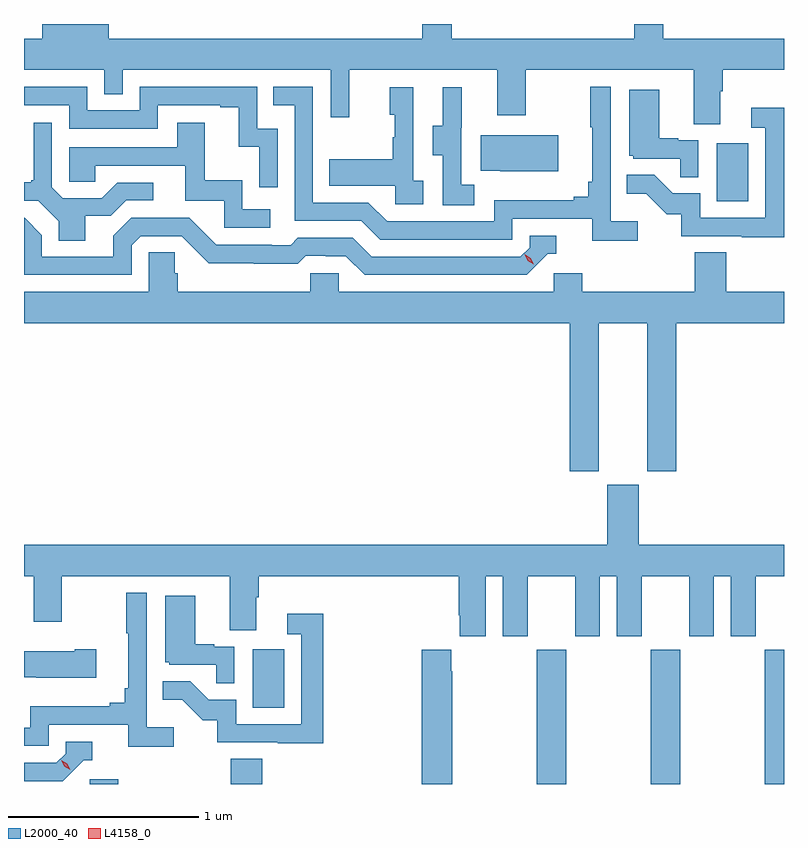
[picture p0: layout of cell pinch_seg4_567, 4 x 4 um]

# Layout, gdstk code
import gdstk
lib = gdstk.Library(unit=1e-6, precision=1e-09)
def R(c, l, rs):  # rectangles x0, y0, x1, y1
    for r in rs: c.add(gdstk.rectangle(r[:2], r[2:], *l))
def P(c, l, *ps):  # polygons
    for p in ps: c.add(gdstk.Polygon(p, *l))
L2000_40 = (2000, 40)
L4158_0 = (4158, 0)

pinch_seg4_567 = lib.new_cell('pinch_seg4_567')
R(pinch_seg4_567, L2000_40, [(1108.224,767.754,1108.376,767.778), (1108.967,767.754,1109.132,767.888), (1110.577,767.754,1110.732,768.46), (1111.177,767.754,1111.332,768.46), (1111.777,767.754,1111.879,768.46), (1109.084,768.156,1109.248,768.463), (1111.526,770.82,1111.69,771.127)])
P(pinch_seg4_567, L2000_40, [(1111.543,771.4),(1111.556,771.4),(1111.556,771.512),(1111.879,771.512),(1111.879,771.676),(1111.244,771.676),(1111.244,771.754),(1111.091,771.754),(1111.091,771.676),(1110.131,771.676),(1110.131,771.754),(1109.975,771.754),(1109.975,771.676),(1108.324,771.676),(1108.324,771.754),(1107.974,771.754),(1107.974,771.676),(1107.879,771.676),(1107.879,771.512),(1108.302,771.512),(1108.302,771.385),(1108.398,771.385),(1108.398,771.512),(1109.493,771.512),(1109.493,771.264),(1109.591,771.264),(1109.591,771.512),(1110.371,771.512),(1110.371,771.273),(1110.519,771.273),(1110.519,771.512),(1111.403,771.512),(1111.403,771.226),(1111.543,771.226)],
  [(1111.108,770.716),(1110.966,770.716),(1110.966,771.424),(1110.858,771.424),(1110.858,771.211),(1110.869,771.211),(1110.869,770.923),(1110.85,770.923),(1110.85,770.846),(1110.773,770.846),(1110.773,770.827),(1110.354,770.827),(1110.354,770.715),(1109.79,770.715),(1109.691,770.814),(1109.4,770.814),(1109.4,771.423),(1109.191,771.423),(1109.191,771.327),(1109.304,771.327),(1109.304,770.718),(1109.654,770.718),(1109.753,770.619),(1110.45,770.619),(1110.45,770.73),(1110.869,770.73),(1110.869,770.614),(1111.108,770.614)],
  [(1109.214,771.204),(1109.106,771.204),(1109.106,771.423),(1108.488,771.423),(1108.488,771.3),(1108.212,771.3),(1108.212,771.423),(1107.879,771.423),(1107.879,771.327),(1108.116,771.327),(1108.116,771.204),(1108.584,771.204),(1108.584,771.327),(1108.913,771.327),(1108.913,771.315),(1109.009,771.315),(1109.009,771.107),(1109.118,771.107),(1109.118,770.895),(1109.214,770.895)],
  [(1110.25,770.907),(1110.18,770.907),(1110.18,771.207),(1110.182,771.207),(1110.182,771.421),(1110.083,771.421),(1110.083,771.219),(1110.029,771.219),(1110.029,771.064),(1110.084,771.064),(1110.084,770.8),(1110.25,770.8)],
  [(1109.98,770.93),(1109.928,770.93),(1109.928,771.421),(1109.804,771.421),(1109.804,771.276),(1109.83,771.276),(1109.83,771.158),(1109.82,771.158),(1109.82,771.043),(1109.485,771.043),(1109.485,770.903),(1109.832,770.903),(1109.832,770.805),(1109.98,770.805)],
  [(1111.428,771.141),(1111.322,771.141),(1111.322,771.154),(1111.222,771.154),(1111.222,771.409),(1111.064,771.409),(1111.064,771.06),(1111.086,771.06),(1111.086,771.045),(1111.333,771.045),(1111.333,770.947),(1111.428,770.947)],
  [(1111.879,771.313),(1111.707,771.313),(1111.707,771.207),(1111.779,771.207),(1111.779,770.733),(1111.437,770.733),(1111.437,770.862),(1111.293,770.862),(1111.195,770.96),(1111.051,770.96),(1111.051,770.861),(1111.155,770.861),(1111.262,770.754),(1111.339,770.754),(1111.339,770.637),(1111.657,770.637),(1111.657,770.632),(1111.879,770.632)],
  [(1109.176,770.778),(1109.028,770.778),(1109.028,770.932),(1108.829,770.932),(1108.829,771.235),(1108.685,771.235),(1108.685,771.105),(1108.116,771.105),(1108.116,770.925),(1108.253,770.925),(1108.253,771.009),(1108.727,771.009),(1108.727,770.823),(1108.932,770.823),(1108.932,770.682),(1109.176,770.682)],
  [(1108.201,770.746),(1108.336,770.746),(1108.416,770.826),(1108.558,770.826),(1108.558,770.919),(1108.37,770.919),(1108.289,770.838),(1108.083,770.838),(1108.026,770.895),(1108.026,771.235),(1107.929,771.235),(1107.929,770.932),(1107.918,770.932),(1107.918,770.92),(1107.879,770.92),(1107.879,770.823),(1107.954,770.823),(1108.061,770.716),(1108.061,770.614),(1108.201,770.614)],
  [(1110.691,771.169),(1110.283,771.169),(1110.283,770.981),(1110.385,770.981),(1110.385,770.978),(1110.691,770.978)],
  [(1108.446,770.589),(1108.494,770.637),(1108.71,770.637),(1108.852,770.495),(1109.088,770.495),(1109.088,770.493),(1109.321,770.493),(1109.363,770.535),(1109.466,770.535),(1109.466,770.532),(1109.573,770.532),(1109.672,770.433),(1110.525,770.433),(1110.636,770.544),(1110.679,770.544),(1110.679,770.64),(1110.54,770.64),(1110.54,770.577),(1110.492,770.529),(1109.709,770.529),(1109.61,770.628),(1109.321,770.628),(1109.282,770.589),(1109.183,770.589),(1109.183,770.592),(1108.89,770.592),(1108.749,770.733),(1108.443,770.733),(1108.349,770.639),(1108.349,770.529),(1107.972,770.529),(1107.972,770.643),(1107.882,770.733),(1107.879,770.733),(1107.879,770.433),(1108.446,770.433)],
  [(1110.904,770.18),(1111.16,770.18),(1111.16,769.401),(1111.313,769.401),(1111.313,770.18),(1111.879,770.18),(1111.879,770.344),(1111.574,770.344),(1111.574,770.552),(1111.409,770.552),(1111.409,770.344),(1110.818,770.344),(1110.818,770.442),(1110.666,770.442),(1110.666,770.344),(1109.535,770.344),(1109.535,770.442),(1109.385,770.442),(1109.385,770.344),(1108.688,770.344),(1108.688,770.442),(1108.673,770.442),(1108.673,770.552),(1108.536,770.552),(1108.536,770.344),(1107.879,770.344),(1107.879,770.18),(1110.752,770.18),(1110.752,769.401),(1110.904,769.401)],
  [(1110.31,768.848),(1110.398,768.848),(1110.398,768.531),(1110.529,768.531),(1110.529,768.848),(1110.779,768.848),(1110.779,768.531),(1110.91,768.531),(1110.91,768.848),(1110.998,768.848),(1110.998,768.531),(1111.129,768.531),(1111.129,768.848),(1111.379,768.848),(1111.379,768.531),(1111.51,768.531),(1111.51,768.848),(1111.598,768.848),(1111.598,768.531),(1111.729,768.531),(1111.729,768.848),(1111.879,768.848),(1111.879,769.012),(1111.114,769.012),(1111.114,769.329),(1110.95,769.329),(1110.95,769.012),(1107.879,769.012),(1107.879,768.848),(1107.929,768.848),(1107.929,768.609),(1108.077,768.609),(1108.077,768.848),(1108.961,768.848),(1108.961,768.562),(1109.101,768.562),(1109.101,768.736),(1109.114,768.736),(1109.114,768.848),(1110.167,768.848),(1110.167,768.643),(1110.173,768.643),(1110.173,768.531),(1110.31,768.531)],
  [(1108.666,768.052),(1108.524,768.052),(1108.524,768.76),(1108.416,768.76),(1108.416,768.547),(1108.427,768.547),(1108.427,768.259),(1108.408,768.259),(1108.408,768.182),(1108.331,768.182),(1108.331,768.163),(1107.912,768.163),(1107.912,768.051),(1107.879,768.051),(1107.879,767.955),(1108.008,767.955),(1108.008,768.066),(1108.427,768.066),(1108.427,767.95),(1108.666,767.95)],
  [(1108.986,768.477),(1108.88,768.477),(1108.88,768.49),(1108.78,768.49),(1108.78,768.745),(1108.622,768.745),(1108.622,768.396),(1108.644,768.396),(1108.644,768.381),(1108.891,768.381),(1108.891,768.283),(1108.986,768.283)],
  [(1109.453,768.649),(1109.265,768.649),(1109.265,768.543),(1109.337,768.543),(1109.337,768.069),(1108.995,768.069),(1108.995,768.198),(1108.851,768.198),(1108.753,768.296),(1108.609,768.296),(1108.609,768.197),(1108.713,768.197),(1108.82,768.09),(1108.897,768.09),(1108.897,767.973),(1109.215,767.973),(1109.215,767.968),(1109.453,767.968)],
  [(1108.258,768.462),(1108.145,768.462),(1108.145,768.454),(1107.879,768.454),(1107.879,768.317),(1107.943,768.317),(1107.943,768.314),(1108.258,768.314)],
  [(1110.132,768.347),(1110.127,768.347),(1110.127,768.46),(1109.972,768.46),(1109.972,767.754),(1110.132,767.754)],
  [(1108.194,767.88),(1108.237,767.88),(1108.237,767.976),(1108.098,767.976),(1108.098,767.913),(1108.05,767.865),(1107.879,767.865),(1107.879,767.769),(1108.083,767.769)])
P(pinch_seg4_567, L4158_0, [(1110.561,770.489),(1110.53,770.509),(1110.515,770.542),(1110.515,770.542),(1110.515,770.542),(1110.546,770.522),(1110.561,770.489),(1110.561,770.489)],
  [(1108.123,767.829),(1108.092,767.848),(1108.076,767.88),(1108.076,767.88),(1108.076,767.88),(1108.107,767.861),(1108.123,767.829),(1108.123,767.829)])

lib.write_gds('pinch_seg4_567.gds')
